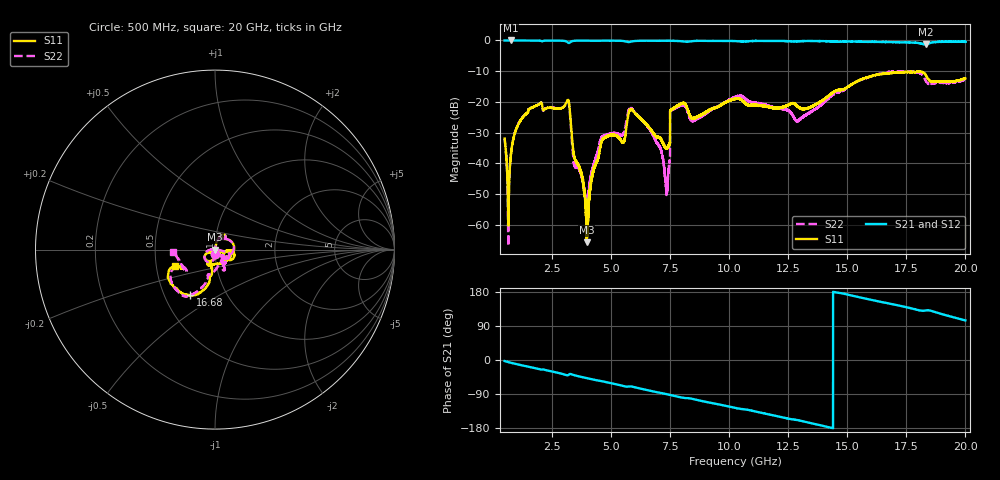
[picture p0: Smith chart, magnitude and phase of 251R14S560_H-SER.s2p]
!{251R14S560}
!Johanson Technology Inc.
!www.johansontechnology.com
!Test Board Conditions:
!Substrate Type  RO4350B
!Substrate Thickness  20 mil
!Substrate Dk  3.66
!TL Type: GCPW
!TL Trace Width  36 mil
!TL Gap  12 mil
!Electrode orientation  Horizontal
!DUT TOPOLOGY	SERIES
!Mounting Pad LxW  26x36 mil
! Created Wed Mar 11 15:51:28 2020
# mhz S ma R 50
! 2 Port Network Data from SP1.SP block
! freq  magS11  angS11  magS21  angS21  magS12  angS12  magS22  angS22
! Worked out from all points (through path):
!   19501 points, 500 MHz to 20 GHz, reference 50 ohm
!   highest |S21| = 0.00 dB at 761 MHz (marker M1); lowest = -1.3 dB at 18.31 GHz (marker M2)
!   group delay of S21, straight-line fit = 35.3 ps
!   lowest |S11| = -65.6 dB at 3.976 GHz (marker M3), VSWR 1.00, Z = 50 - j0.0328 ohm
!   |S11| at or under -10 dB: start of sweep to end of sweep
!   |S22| runs from -66.9 to -10.0 dB; largest |S21 - S12| = 0.018
!   S11 on the Smith chart (normalised r, x): 500 MHz: 1.00, -0.05; 16.68 GHz: 0.67, -0.37; 20 GHz: 0.62, -0.12
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500  0.0254 -90.6  0.9985 -2.8  0.998 -2.8  0.02547 -91.7
641  0.002492 -69.1  0.9984 -5.3  0.9989 -5.3  0.002015 -90.1
761  0.01325 78.8  0.9996 -7.3  0.998 -7.3  0.01353 82.4
999  0.03698 78.3  0.9982 -10.8  0.9969 -10.8  0.03726 78.5
1598  0.07862 71.2  0.9952 -19.0  0.9957 -19.0  0.07931 70.4
3141  0.1025 25.0  0.9498 -40.4  0.9503 -40.4  0.1012 25.4
3450  0.01277 -15.9  0.9874 -40.0  0.9868 -40.1  0.009504 -7.3
3750  0.00656 19.1  0.9938 -44.7  0.9945 -44.7  0.006418 30.6
3976  0.0005267 -38.5  0.9946 -47.9  0.9946 -47.9  0.002115 -39.5
4633  0.02412 -138.8  0.9905 -56.2  0.9901 -56.2  0.02757 -124.9
5513  0.02212 -129.5  0.9812 -68.4  0.9801 -68.4  0.03007 -113.0
5816  0.07516 -124.7  0.9498 -69.7  0.9492 -69.7  0.0805 -124.5
7000  0.0269 -125.6  0.9865 -85.6  0.9868 -85.6  0.02001 -177.4
7356  0.01752 -84.6  0.9907 -90.2  0.9899 -90.2  0.00334 85.3
7598  0.07652 -8.4  0.9856 -93.5  0.9859 -93.5  0.07498 -12.8
8512  0.05385 -21.7  0.9794 -103.5  0.9788 -103.5  0.05037 -39.3
10250  0.1132 -17.1  0.9772 -126.2  0.9775 -126.1  0.1202 -62.7
13500  0.08431 -106.2  0.9803 -167.1  0.9804 -167.2  0.07083 -60.1
16678  0.2892 -118.7  0.9436 150.1  0.9368 150.1  0.3051 -121.6
16750  0.2927 -120.3  0.9444 149.3  0.9375 149.0  0.308 -121.8
18312  0.2782 -156.2  0.8597 130.6  0.8533 130.5  0.2253 -156.0
20000  0.2425 -158.4  0.9472 104.4  0.946 104.7  0.2329 -176.6
